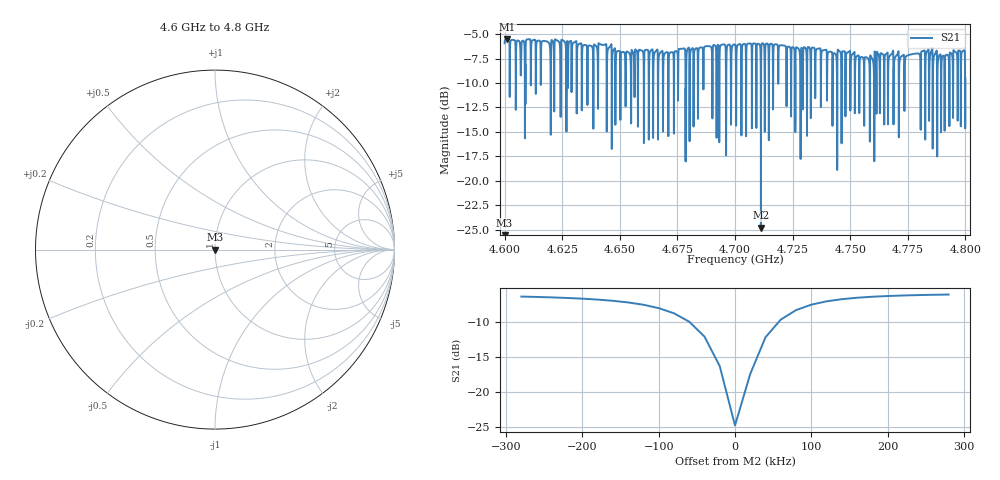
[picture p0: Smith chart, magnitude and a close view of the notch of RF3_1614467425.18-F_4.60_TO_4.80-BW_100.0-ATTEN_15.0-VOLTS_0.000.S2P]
!Keysight Technologies,E5063A,MY54502693,A.05.04
!Date: Sat Feb 27 16:10:44 2021
!Data & Calibration Information:
!Freq	S11:NONE(--)	S21:NONE(--)	S12:NONE(--)	S22:NONE(--)
# Hz S RI R 50
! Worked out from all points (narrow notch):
!   10000 points, 4.6 GHz to 4.8 GHz, reference 50 ohm
!   highest |S21| = -5.50 dB at 4.6012 GHz (marker M1); lowest = -24.8 dB at 4.7113 GHz (marker M2)
!   notch at M2: 18.1 dB deep, 49.2 kHz wide at half that depth
!   lowest |S11| = - dB at 4.6 GHz (marker M3), VSWR 1.00, Z = 50 + j0 ohm
!   |S11| at or under -10 dB: start of sweep to end of sweep
!   S12 and S22 are empty: the file has one direction only
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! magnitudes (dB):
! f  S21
! 4.6 GHz  -5.9
! 4.6012 GHz  -5.5
! 4.6081 GHz  -5.7
! 4.6102 GHz  -5.5
! 4.6206 GHz  -5.6
! 4.6227 GHz  -5.6
! 4.6333 GHz  -6.0
! 4.6667 GHz  -9.4
! 4.6773 GHz  -6.5
! 4.6795 GHz  -6.5
! 4.6799 GHz  -6.4
! 4.6851 GHz  -6.4
! 4.7 GHz  -6.1
! 4.7113 GHz  -24.8
! 4.7287 GHz  -6.9
! 4.7334 GHz  -6.4
! 4.7605 GHz  -12.8
! 4.7667 GHz  -7.6
! 4.7791 GHz  -7.0
! 4.7887 GHz  -7.2
! 4.7987 GHz  -6.7
! 4.8 GHz  -9.6
